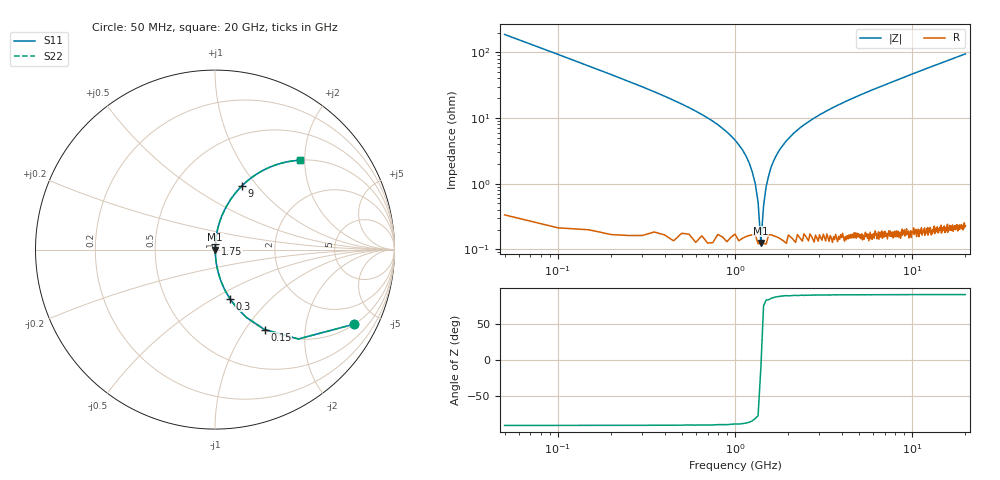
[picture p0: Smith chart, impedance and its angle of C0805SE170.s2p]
! AVX Thin Film Operation		Date: April 2012
! Description: Accu-P® Series, Thin Film, SMD, RF Capacitor
! Part Number: 08055J170FBTTR
!	50	MHz	-	20.05	GHz
!	Serial	Measurements
#	MHZ	S	MA	R	50
!	S11	S21	S12	S22
!	dB	Phase	dB	Phase	dB	Phase	dB	Phase
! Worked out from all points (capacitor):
!   400 points, 50 MHz to 20 GHz, reference 50 ohm
!   read as one part in series: C = 17 pF near 150 MHz
!   lowest |Z| = 125 mohm at 1.4 GHz (marker M1)
!   series resonance near 1.402 GHz, so ESL is about 760 pH
!   S11 on the Smith chart (normalised r, x): 50 MHz: 1.01, -3.74; 150 MHz: 1.00, -1.23; 300 MHz: 1.00, -0.60; 1.75 GHz: 1.00, +0.06; 9 GHz: 1.00, +0.84; 20 GHz: 1.00, +1.90
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50  0.881 -28.1  0.471 61.8  0.471 61.8  0.881 -28.1
100  0.681 -47.0  0.731 42.9  0.731 42.9  0.681 -47.0
150  0.524 -58.2  0.85 31.6  0.85 31.6  0.524 -58.2
300  0.285 -73.1  0.957 16.6  0.957 16.6  0.285 -73.1
600  0.126 -82.1  0.991 7.3  0.991 7.3  0.126 -82.1
900  0.061 -85.1  0.997 3.5  0.997 3.5  0.061 -85.1
1150  0.027 -85.3  0.998 1.5  0.998 1.5  0.027 -85.3
1300  0.01 -81.2  0.998 0.6  0.998 0.6  0.01 -81.2
1350  0.00528 -73.7  0.999 0.3  0.999 0.3  0.00528 -73.7
1400  0.001471 -8.8  0.999 0.0  0.999 0.0  0.001471 -8.8
1450  0.004685 71.7  0.999 -0.3  0.999 -0.3  0.004685 71.7
1500  0.009096 80.3  0.999 -0.5  0.999 -0.5  0.009096 80.3
1600  0.018 84.3  0.998 -1.0  0.998 -1.0  0.018 84.3
1750  0.03 85.5  0.998 -1.7  0.998 -1.7  0.03 85.5
2300  0.069 84.8  0.996 -3.9  0.996 -3.9  0.069 84.8
3400  0.133 81.7  0.99 -7.6  0.99 -7.6  0.133 81.7
6700  0.291 72.8  0.955 -16.9  0.955 -16.9  0.291 72.8
9000  0.385 67.1  0.921 -22.7  0.921 -22.7  0.385 67.1
10050  0.424 64.7  0.904 -25.1  0.904 -25.1  0.424 64.7
13350  0.531 57.7  0.845 -32.1  0.845 -32.1  0.531 57.7
16700  0.619 51.6  0.784 -38.2  0.784 -38.2  0.619 51.6
20000  0.687 46.5  0.725 -43.4  0.725 -43.4  0.687 46.5
